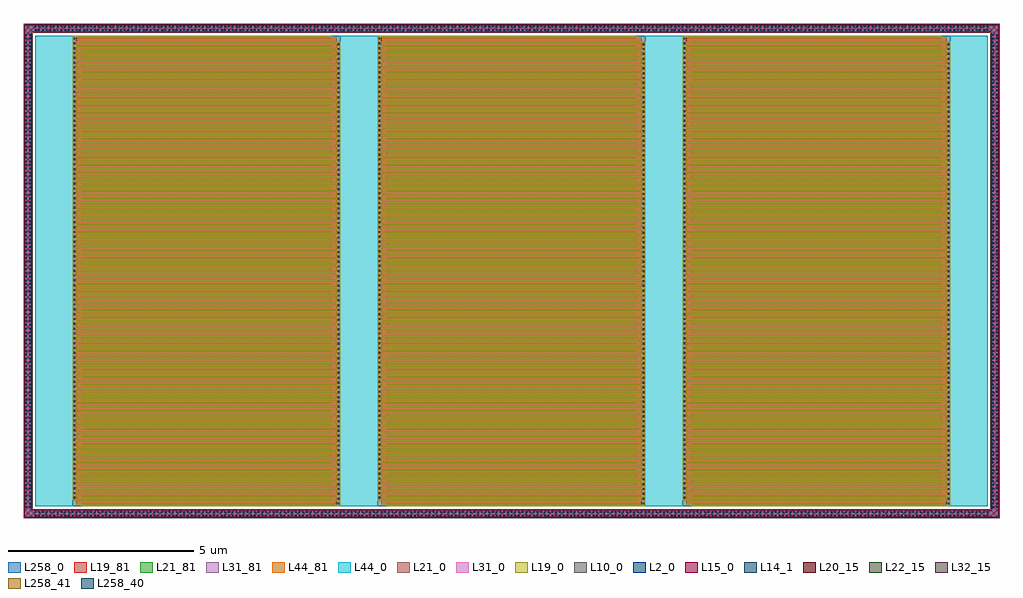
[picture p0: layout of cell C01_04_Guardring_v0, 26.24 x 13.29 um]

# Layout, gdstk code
from math import pi, radians
import gdstk
lib = gdstk.Library(unit=1e-6, precision=1e-09)
def R(c, l, rs):  # rectangles x0, y0, x1, y1
    for r in rs: c.add(gdstk.rectangle(r[:2], r[2:], *l))
def A(c, l, x, y, w, h, nx, ny, dx, dy):  # array of equal rectangles
    R(c, l, [(x+i*dx, y+j*dy, x+i*dx+w, y+j*dy+h) for i in range(nx) for j in range(ny)])
L2_0 = (2, 0)
L10_0 = (10, 0)
L14_1 = (14, 1)
L15_0 = (15, 0)
L19_0 = (19, 0)
L19_81 = (19, 81)
L20_15 = (20, 15)
L21_0 = (21, 0)
L21_81 = (21, 81)
L22_15 = (22, 15)
L31_0 = (31, 0)
L31_81 = (31, 81)
L32_15 = (32, 15)
L44_0 = (44, 0)
L44_81 = (44, 81)
L258_0 = (258, 0)
L258_40 = (258, 40)
L258_41 = (258, 41)

c01_04_guardring_v0_srf_ = lib.new_cell('C01_04_Guardring_v0:SRF_Array:SRF_HDVNCAP:SRF_FingerArray:SRF_FingerPair')
R(c01_04_guardring_v0_srf_, L19_0, [(0.1,-0.15,0.15,6.7), (0,0,0.05,6.85)])
R(c01_04_guardring_v0_srf_, L21_0, [(0.1,-0.15,0.15,6.7), (0,0,0.05,6.85)])
R(c01_04_guardring_v0_srf_, L31_0, [(0.1,-0.15,0.15,6.7), (0,0,0.05,6.85)])
R(c01_04_guardring_v0_srf_, L44_0, [(0.1,-0.15,0.15,6.7), (0,0,0.05,6.85)])

c_c01_04_guardring_v0_srf_ = lib.new_cell('C01_04_Guardring_v0:SRF_Array:SRF_HDVNCAP:SRF_FingerArray')
c_c01_04_guardring_v0_srf_.add(gdstk.Reference(c01_04_guardring_v0_srf_, (0,0)))
c_c01_04_guardring_v0_srf_.add(gdstk.Reference(c01_04_guardring_v0_srf_, (0.2,0)))
c_c01_04_guardring_v0_srf_.add(gdstk.Reference(c01_04_guardring_v0_srf_, (0.4,0)))
c_c01_04_guardring_v0_srf_.add(gdstk.Reference(c01_04_guardring_v0_srf_, (0.6,0)))
c_c01_04_guardring_v0_srf_.add(gdstk.Reference(c01_04_guardring_v0_srf_, (0.8,0)))
c_c01_04_guardring_v0_srf_.add(gdstk.Reference(c01_04_guardring_v0_srf_, (1,0)))
c_c01_04_guardring_v0_srf_.add(gdstk.Reference(c01_04_guardring_v0_srf_, (1.2,0)))
c_c01_04_guardring_v0_srf_.add(gdstk.Reference(c01_04_guardring_v0_srf_, (1.4,0)))
c_c01_04_guardring_v0_srf_.add(gdstk.Reference(c01_04_guardring_v0_srf_, (1.6,0)))
c_c01_04_guardring_v0_srf_.add(gdstk.Reference(c01_04_guardring_v0_srf_, (1.8,0)))
c_c01_04_guardring_v0_srf_.add(gdstk.Reference(c01_04_guardring_v0_srf_, (2,0)))
c_c01_04_guardring_v0_srf_.add(gdstk.Reference(c01_04_guardring_v0_srf_, (2.2,0)))
c_c01_04_guardring_v0_srf_.add(gdstk.Reference(c01_04_guardring_v0_srf_, (2.4,0)))
c_c01_04_guardring_v0_srf_.add(gdstk.Reference(c01_04_guardring_v0_srf_, (2.6,0)))
c_c01_04_guardring_v0_srf_.add(gdstk.Reference(c01_04_guardring_v0_srf_, (2.8,0)))
c_c01_04_guardring_v0_srf_.add(gdstk.Reference(c01_04_guardring_v0_srf_, (3,0)))
c_c01_04_guardring_v0_srf_.add(gdstk.Reference(c01_04_guardring_v0_srf_, (3.2,0)))
c_c01_04_guardring_v0_srf_.add(gdstk.Reference(c01_04_guardring_v0_srf_, (3.4,0)))
c_c01_04_guardring_v0_srf_.add(gdstk.Reference(c01_04_guardring_v0_srf_, (3.6,0)))
c_c01_04_guardring_v0_srf_.add(gdstk.Reference(c01_04_guardring_v0_srf_, (3.8,0)))
c_c01_04_guardring_v0_srf_.add(gdstk.Reference(c01_04_guardring_v0_srf_, (4,0)))
c_c01_04_guardring_v0_srf_.add(gdstk.Reference(c01_04_guardring_v0_srf_, (4.2,0)))
c_c01_04_guardring_v0_srf_.add(gdstk.Reference(c01_04_guardring_v0_srf_, (4.4,0)))
c_c01_04_guardring_v0_srf_.add(gdstk.Reference(c01_04_guardring_v0_srf_, (4.6,0)))
c_c01_04_guardring_v0_srf_.add(gdstk.Reference(c01_04_guardring_v0_srf_, (4.8,0)))
c_c01_04_guardring_v0_srf_.add(gdstk.Reference(c01_04_guardring_v0_srf_, (5,0)))
c_c01_04_guardring_v0_srf_.add(gdstk.Reference(c01_04_guardring_v0_srf_, (5.2,0)))
c_c01_04_guardring_v0_srf_.add(gdstk.Reference(c01_04_guardring_v0_srf_, (5.4,0)))
c_c01_04_guardring_v0_srf_.add(gdstk.Reference(c01_04_guardring_v0_srf_, (5.6,0)))
c_c01_04_guardring_v0_srf_.add(gdstk.Reference(c01_04_guardring_v0_srf_, (5.8,0)))
c_c01_04_guardring_v0_srf_.add(gdstk.Reference(c01_04_guardring_v0_srf_, (6,0)))
c_c01_04_guardring_v0_srf_.add(gdstk.Reference(c01_04_guardring_v0_srf_, (6.2,0)))
c_c01_04_guardring_v0_srf_.add(gdstk.Reference(c01_04_guardring_v0_srf_, (6.4,0)))
c_c01_04_guardring_v0_srf_.add(gdstk.Reference(c01_04_guardring_v0_srf_, (6.6,0)))
c_c01_04_guardring_v0_srf_.add(gdstk.Reference(c01_04_guardring_v0_srf_, (6.8,0)))
c_c01_04_guardring_v0_srf_.add(gdstk.Reference(c01_04_guardring_v0_srf_, (7,0)))
c_c01_04_guardring_v0_srf_.add(gdstk.Reference(c01_04_guardring_v0_srf_, (7.2,0)))
c_c01_04_guardring_v0_srf_.add(gdstk.Reference(c01_04_guardring_v0_srf_, (7.4,0)))
c_c01_04_guardring_v0_srf_.add(gdstk.Reference(c01_04_guardring_v0_srf_, (7.6,0)))
c_c01_04_guardring_v0_srf_.add(gdstk.Reference(c01_04_guardring_v0_srf_, (7.8,0)))
c_c01_04_guardring_v0_srf_.add(gdstk.Reference(c01_04_guardring_v0_srf_, (8,0)))
c_c01_04_guardring_v0_srf_.add(gdstk.Reference(c01_04_guardring_v0_srf_, (8.2,0)))
c_c01_04_guardring_v0_srf_.add(gdstk.Reference(c01_04_guardring_v0_srf_, (8.4,0)))
c_c01_04_guardring_v0_srf_.add(gdstk.Reference(c01_04_guardring_v0_srf_, (8.6,0)))
c_c01_04_guardring_v0_srf_.add(gdstk.Reference(c01_04_guardring_v0_srf_, (8.8,0)))
c_c01_04_guardring_v0_srf_.add(gdstk.Reference(c01_04_guardring_v0_srf_, (9,0)))
c_c01_04_guardring_v0_srf_.add(gdstk.Reference(c01_04_guardring_v0_srf_, (9.2,0)))
c_c01_04_guardring_v0_srf_.add(gdstk.Reference(c01_04_guardring_v0_srf_, (9.4,0)))
c_c01_04_guardring_v0_srf_.add(gdstk.Reference(c01_04_guardring_v0_srf_, (9.6,0)))
c_c01_04_guardring_v0_srf_.add(gdstk.Reference(c01_04_guardring_v0_srf_, (9.8,0)))
c_c01_04_guardring_v0_srf_.add(gdstk.Reference(c01_04_guardring_v0_srf_, (10,0)))
c_c01_04_guardring_v0_srf_.add(gdstk.Reference(c01_04_guardring_v0_srf_, (10.2,0)))
c_c01_04_guardring_v0_srf_.add(gdstk.Reference(c01_04_guardring_v0_srf_, (10.4,0)))
c_c01_04_guardring_v0_srf_.add(gdstk.Reference(c01_04_guardring_v0_srf_, (10.6,0)))
c_c01_04_guardring_v0_srf_.add(gdstk.Reference(c01_04_guardring_v0_srf_, (10.8,0)))
c_c01_04_guardring_v0_srf_.add(gdstk.Reference(c01_04_guardring_v0_srf_, (11,0)))
c_c01_04_guardring_v0_srf_.add(gdstk.Reference(c01_04_guardring_v0_srf_, (11.2,0)))
c_c01_04_guardring_v0_srf_.add(gdstk.Reference(c01_04_guardring_v0_srf_, (11.4,0)))
c_c01_04_guardring_v0_srf_.add(gdstk.Reference(c01_04_guardring_v0_srf_, (11.6,0)))
c_c01_04_guardring_v0_srf_.add(gdstk.Reference(c01_04_guardring_v0_srf_, (11.8,0)))
c_c01_04_guardring_v0_srf_.add(gdstk.Reference(c01_04_guardring_v0_srf_, (12,0)))
c_c01_04_guardring_v0_srf_.add(gdstk.Reference(c01_04_guardring_v0_srf_, (12.2,0)))

c_c01_04_guardring_v0_srf__ = lib.new_cell('C01_04_Guardring_v0:SRF_Array:SRF_HDVNCAP:SRF_Via0_PortA_Hrz:SRF_ViaM3M4')
R(c_c01_04_guardring_v0_srf__, L19_0, [(-0.032,0,12.432,0.05)])
A(c_c01_04_guardring_v0_srf__, L20_15, 0, 0, 0.05, 0.05, 96, 1, 0.13, 0)
R(c_c01_04_guardring_v0_srf__, L21_0, [(-0.032,0,12.432,0.05)])

c_c01_04_guardring_v0_srf___ = lib.new_cell('C01_04_Guardring_v0:SRF_Array:SRF_HDVNCAP:SRF_Via0_PortA_Hrz')
c_c01_04_guardring_v0_srf___.add(gdstk.Reference(c_c01_04_guardring_v0_srf__, (-6.2,-0.025)))

c_c01_04_guardring_v0_srf____ = lib.new_cell('C01_04_Guardring_v0:SRF_Array:SRF_HDVNCAP:SRF_Via1_PortA_Hrz:SRF_ViaM4M5')
R(c_c01_04_guardring_v0_srf____, L21_0, [(-0.032,0,12.432,0.05)])
A(c_c01_04_guardring_v0_srf____, L22_15, 0, 0, 0.05, 0.05, 96, 1, 0.13, 0)
R(c_c01_04_guardring_v0_srf____, L31_0, [(-0.032,0,12.432,0.05)])

c_c01_04_guardring_v0_srf_____ = lib.new_cell('C01_04_Guardring_v0:SRF_Array:SRF_HDVNCAP:SRF_Via1_PortA_Hrz')
c_c01_04_guardring_v0_srf_____.add(gdstk.Reference(c_c01_04_guardring_v0_srf____, (-6.2,-0.025)))

c_c01_04_guardring_v0_srf______ = lib.new_cell('C01_04_Guardring_v0:SRF_Array:SRF_HDVNCAP:SRF_Via2_PortA_Hrz:SRF_ViaM5M6')
R(c_c01_04_guardring_v0_srf______, L31_0, [(-0.032,0,12.432,0.05)])
A(c_c01_04_guardring_v0_srf______, L32_15, 0, 0, 0.05, 0.05, 96, 1, 0.13, 0)
R(c_c01_04_guardring_v0_srf______, L44_0, [(-0.032,0,12.432,0.05)])

c_c01_04_guardring_v0_srf_______ = lib.new_cell('C01_04_Guardring_v0:SRF_Array:SRF_HDVNCAP:SRF_Via2_PortA_Hrz')
c_c01_04_guardring_v0_srf_______.add(gdstk.Reference(c_c01_04_guardring_v0_srf______, (-6.2,-0.025)))

c_c01_04_guardring_v0_srf________ = lib.new_cell('C01_04_Guardring_v0:SRF_Array:SRF_HDVNCAP:SRF_Via0_PortB_Hrz:SRF_ViaM3M4')
R(c_c01_04_guardring_v0_srf________, L19_0, [(-0.032,0,12.432,0.05)])
A(c_c01_04_guardring_v0_srf________, L20_15, 0, 0, 0.05, 0.05, 96, 1, 0.13, 0)
R(c_c01_04_guardring_v0_srf________, L21_0, [(-0.032,0,12.432,0.05)])

c_c01_04_guardring_v0_srf_________ = lib.new_cell('C01_04_Guardring_v0:SRF_Array:SRF_HDVNCAP:SRF_Via0_PortB_Hrz')
c_c01_04_guardring_v0_srf_________.add(gdstk.Reference(c_c01_04_guardring_v0_srf________, (-6.2,-0.025)))

c_c01_04_guardring_v0_srf__________ = lib.new_cell('C01_04_Guardring_v0:SRF_Array:SRF_HDVNCAP:SRF_Via1_PortB_Hrz:SRF_ViaM4M5')
R(c_c01_04_guardring_v0_srf__________, L21_0, [(-0.032,0,12.432,0.05)])
A(c_c01_04_guardring_v0_srf__________, L22_15, 0, 0, 0.05, 0.05, 96, 1, 0.13, 0)
R(c_c01_04_guardring_v0_srf__________, L31_0, [(-0.032,0,12.432,0.05)])

c_c01_04_guardring_v0_srf___________ = lib.new_cell('C01_04_Guardring_v0:SRF_Array:SRF_HDVNCAP:SRF_Via1_PortB_Hrz')
c_c01_04_guardring_v0_srf___________.add(gdstk.Reference(c_c01_04_guardring_v0_srf__________, (-6.2,-0.025)))

c_c01_04_guardring_v0_srf____________ = lib.new_cell('C01_04_Guardring_v0:SRF_Array:SRF_HDVNCAP:SRF_Via2_PortB_Hrz:SRF_ViaM5M6')
R(c_c01_04_guardring_v0_srf____________, L31_0, [(-0.032,0,12.432,0.05)])
A(c_c01_04_guardring_v0_srf____________, L32_15, 0, 0, 0.05, 0.05, 96, 1, 0.13, 0)
R(c_c01_04_guardring_v0_srf____________, L44_0, [(-0.032,0,12.432,0.05)])

c_c01_04_guardring_v0_srf_____________ = lib.new_cell('C01_04_Guardring_v0:SRF_Array:SRF_HDVNCAP:SRF_Via2_PortB_Hrz')
c_c01_04_guardring_v0_srf_____________.add(gdstk.Reference(c_c01_04_guardring_v0_srf____________, (-6.2,-0.025)))

c_c01_04_guardring_v0_srf______________ = lib.new_cell('C01_04_Guardring_v0:SRF_Array:SRF_HDVNCAP')
R(c_c01_04_guardring_v0_srf______________, L19_0, [(-0.15,-0.25,12.35,-0.15), (-0.15,-0.25,-0.1,6.7), (12.45,0,12.5,6.95), (0,6.85,12.5,6.95)])
R(c_c01_04_guardring_v0_srf______________, L19_81, [(-0.1,-0.15,12.45,6.85)])
R(c_c01_04_guardring_v0_srf______________, L21_0, [(-0.15,-0.25,12.35,-0.15), (-0.15,-0.25,-0.1,6.7), (12.45,0,12.5,6.95), (0,6.85,12.5,6.95)])
R(c_c01_04_guardring_v0_srf______________, L21_81, [(-0.1,-0.15,12.45,6.85)])
R(c_c01_04_guardring_v0_srf______________, L31_0, [(-0.15,-0.25,12.35,-0.15), (-0.15,-0.25,-0.1,6.7), (12.45,0,12.5,6.95), (0,6.85,12.5,6.95)])
R(c_c01_04_guardring_v0_srf______________, L31_81, [(-0.1,-0.15,12.45,6.85)])
R(c_c01_04_guardring_v0_srf______________, L44_0, [(-0.15,-0.25,12.35,-0.15), (-0.15,-0.25,-0.1,6.7), (12.45,0,12.5,6.95), (0,6.85,12.5,6.95)])
R(c_c01_04_guardring_v0_srf______________, L44_81, [(-0.1,-0.15,12.45,6.85)])
R(c_c01_04_guardring_v0_srf______________, L258_0, [(-0.15,-0.25,12.5,6.95)])
A(c_c01_04_guardring_v0_srf______________, L258_40, -0.09, -0.15, 0.01, 0.01, 3, 1, 0.02, 0)
A(c_c01_04_guardring_v0_srf______________, L258_41, 12.37, 6.84, 0.01, 0.01, 4, 1, 0.02, 0)
c_c01_04_guardring_v0_srf______________.add(gdstk.Reference(c_c01_04_guardring_v0_srf_, (0,0)))
c_c01_04_guardring_v0_srf______________.add(gdstk.Reference(c_c01_04_guardring_v0_srf___, (6.25,6.9)))
c_c01_04_guardring_v0_srf______________.add(gdstk.Reference(c_c01_04_guardring_v0_srf_____, (6.25,6.9)))
c_c01_04_guardring_v0_srf______________.add(gdstk.Reference(c_c01_04_guardring_v0_srf_______, (6.25,6.9)))
c_c01_04_guardring_v0_srf______________.add(gdstk.Reference(c_c01_04_guardring_v0_srf_________, (6.1,-0.2)))
c_c01_04_guardring_v0_srf______________.add(gdstk.Reference(c_c01_04_guardring_v0_srf___________, (6.1,-0.2)))
c_c01_04_guardring_v0_srf______________.add(gdstk.Reference(c_c01_04_guardring_v0_srf_____________, (6.1,-0.2)))

c_c01_04_guardring_v0_srf_______________ = lib.new_cell('C01_04_Guardring_v0:SRF_Array')
A(c_c01_04_guardring_v0_srf_______________, L44_0, 0, 0, 1, 12.65, 4, 1, 8.2, 0)
c_c01_04_guardring_v0_srf_______________.add(gdstk.Reference(c_c01_04_guardring_v0_srf______________, (7.95,0.15), rotation=pi/2))
c_c01_04_guardring_v0_srf_______________.add(gdstk.Reference(c_c01_04_guardring_v0_srf______________, (16.15,0.15), rotation=pi/2))
c_c01_04_guardring_v0_srf_______________.add(gdstk.Reference(c_c01_04_guardring_v0_srf______________, (24.35,0.15), rotation=pi/2))

c01_04_guardring_v0__pbo = lib.new_cell('C01_04_Guardring_v0:_Pbodyring:SRF_PbodyTop:SRF_PbodyContactPhyLen')
R(c01_04_guardring_v0__pbo, L2_0, [(-0.08,-0.13,25.72,0.07)])
R(c01_04_guardring_v0__pbo, L10_0, [(-0.101,-0.151,25.741,0.091)])
A(c01_04_guardring_v0__pbo, L14_1, 0, -0.1, 0.04, 0.04, 257, 2, 0.1, 0.1)
R(c01_04_guardring_v0__pbo, L15_0, [(-0.08,-0.13,25.72,0.07)])

c_c01_04_guardring_v0__pbo = lib.new_cell('C01_04_Guardring_v0:_Pbodyring:SRF_PbodyTop')
c_c01_04_guardring_v0__pbo.add(gdstk.Reference(c01_04_guardring_v0__pbo, (0,0)))

c_c01_04_guardring_v0__pbo_ = lib.new_cell('C01_04_Guardring_v0:_Pbodyring:SRF_PbodyBottom:SRF_PbodyContactPhyLen')
R(c_c01_04_guardring_v0__pbo_, L2_0, [(-0.08,-0.13,25.72,0.07)])
R(c_c01_04_guardring_v0__pbo_, L10_0, [(-0.101,-0.151,25.741,0.091)])
A(c_c01_04_guardring_v0__pbo_, L14_1, 0, -0.1, 0.04, 0.04, 257, 2, 0.1, 0.1)
R(c_c01_04_guardring_v0__pbo_, L15_0, [(-0.08,-0.13,25.72,0.07)])

c_c01_04_guardring_v0__pbo__ = lib.new_cell('C01_04_Guardring_v0:_Pbodyring:SRF_PbodyBottom')
c_c01_04_guardring_v0__pbo__.add(gdstk.Reference(c_c01_04_guardring_v0__pbo_, (0,0)))

c_c01_04_guardring_v0__pbo___ = lib.new_cell('C01_04_Guardring_v0:_Pbodyring:SRF_PbodyLeft:SRF_PbodyContactPhyLen')
R(c_c01_04_guardring_v0__pbo___, L2_0, [(-0.03,-12.755,0.17,0.095)])
R(c_c01_04_guardring_v0__pbo___, L10_0, [(-0.051,-12.776,0.191,0.116)])
A(c_c01_04_guardring_v0__pbo___, L14_1, 0, -12.7, 0.04, 0.04, 1, 128, 0, 0.1)
A(c_c01_04_guardring_v0__pbo___, L14_1, 0.1, -12.7, 0.04, 0.04, 1, 128, 0, 0.1)
R(c_c01_04_guardring_v0__pbo___, L15_0, [(-0.03,-12.755,0.17,0.095)])

c_c01_04_guardring_v0__pbo____ = lib.new_cell('C01_04_Guardring_v0:_Pbodyring:SRF_PbodyLeft')
c_c01_04_guardring_v0__pbo____.add(gdstk.Reference(c_c01_04_guardring_v0__pbo___, (0,0)))

c_c01_04_guardring_v0__pbo_____ = lib.new_cell('C01_04_Guardring_v0:_Pbodyring:SRF_PbodyRight:SRF_PbodyContactPhyLen')
R(c_c01_04_guardring_v0__pbo_____, L2_0, [(-0.03,-12.755,0.17,0.095)])
R(c_c01_04_guardring_v0__pbo_____, L10_0, [(-0.051,-12.776,0.191,0.116)])
A(c_c01_04_guardring_v0__pbo_____, L14_1, 0, -12.7, 0.04, 0.04, 1, 128, 0, 0.1)
A(c_c01_04_guardring_v0__pbo_____, L14_1, 0.1, -12.7, 0.04, 0.04, 1, 128, 0, 0.1)
R(c_c01_04_guardring_v0__pbo_____, L15_0, [(-0.03,-12.755,0.17,0.095)])

c_c01_04_guardring_v0__pbo______ = lib.new_cell('C01_04_Guardring_v0:_Pbodyring:SRF_PbodyRight')
c_c01_04_guardring_v0__pbo______.add(gdstk.Reference(c_c01_04_guardring_v0__pbo_____, (0,0)))

c_c01_04_guardring_v0__pbo_______ = lib.new_cell('C01_04_Guardring_v0:_Pbodyring')
R(c_c01_04_guardring_v0__pbo_______, L2_0, [(-0.28,-13.18,25.92,-12.98), (-0.28,-13.18,-0.08,0.07), (25.72,-13.18,25.92,0.07), (-0.28,-0.13,25.92,0.07)])
R(c_c01_04_guardring_v0__pbo_______, L10_0, [(-0.301,-13.201,25.941,-12.959), (-0.301,-13.201,-0.059,0.091), (25.699,-13.201,25.941,0.091), (-0.301,-0.151,25.941,0.091)])
R(c_c01_04_guardring_v0__pbo_______, L15_0, [(-0.28,-13.18,25.92,-12.98), (-0.28,-13.18,-0.08,0.07), (25.72,-13.18,25.92,0.07), (-0.28,-0.13,25.92,0.07)])
c_c01_04_guardring_v0__pbo_______.add(gdstk.Reference(c_c01_04_guardring_v0__pbo, (0,0)))
c_c01_04_guardring_v0__pbo_______.add(gdstk.Reference(c_c01_04_guardring_v0__pbo__, (0,-13.05)))
c_c01_04_guardring_v0__pbo_______.add(gdstk.Reference(c_c01_04_guardring_v0__pbo____, (-0.25,-0.225)))
c_c01_04_guardring_v0__pbo_______.add(gdstk.Reference(c_c01_04_guardring_v0__pbo______, (25.75,-0.225)))

c01_04_guardring_v0 = lib.new_cell('C01_04_Guardring_v0')
c01_04_guardring_v0.add(gdstk.Reference(c_c01_04_guardring_v0_srf_______________, (0,0)))
c01_04_guardring_v0.add(gdstk.Reference(c_c01_04_guardring_v0__pbo_______, (-0.02,12.88)))

lib.write_gds('C01_04_Guardring_v0.gds')
